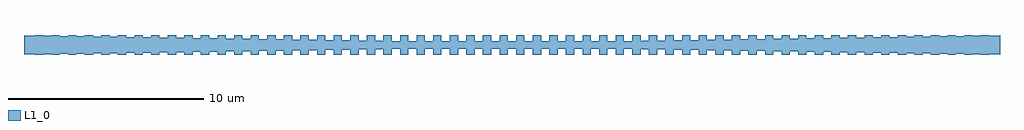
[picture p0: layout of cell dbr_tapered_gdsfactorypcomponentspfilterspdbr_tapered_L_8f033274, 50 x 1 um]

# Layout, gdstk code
import gdstk
lib = gdstk.Library(unit=1e-6, precision=1e-09)
def R(c, l, rs):  # rectangles x0, y0, x1, y1
    for r in rs: c.add(gdstk.rectangle(r[:2], r[2:], *l))
def P(c, l, *ps):  # polygons
    for p in ps: c.add(gdstk.Polygon(p, *l))
L1_0 = (1, 0)

taper_gdsfactorypcompone = lib.new_cell('taper_gdsfactorypcomponentsptapersptaper_L20_W1_W0p4_LN_9fedc536')
P(taper_gdsfactorypcompone, L1_0, [(0,-0.5),(0,0.5),(20,0.2),(20,-0.2)])

straight_gdsfactorypcomp = lib.new_cell('straight_gdsfactorypcomponentspwaveguidespstraight_L10__2c3216f5')
R(straight_gdsfactorypcomp, L1_0, [(0,-0.2,10,0.2)])

c_taper_gdsfactorypcompone = lib.new_cell('taper_gdsfactorypcomponentsptapersptaper_L20_W0p4_W1_LN_66863c4a')
P(c_taper_gdsfactorypcompone, L1_0, [(20,-0.5),(0,-0.2),(0,0.2),(20,0.5)])

rectangle_gdsfactorypcom = lib.new_cell('rectangle_gdsfactorypcomponentspshapesprectangle_S0p424_a02634c4')
R(rectangle_gdsfactorypcom, L1_0, [(0,0,0.424,1)])

array_gdsfactorypcompone = lib.new_cell('array_gdsfactorypcomponentspcontainersparray_component__bf81680f')
r = gdstk.Reference(rectangle_gdsfactorypcom, (0,0)); r.repetition = gdstk.Repetition(58, 1, v1=(0.85,0), v2=(0,0)); array_gdsfactorypcompone.add(r)

dbr_tapered_gdsfactorypc = lib.new_cell('dbr_tapered_gdsfactorypcomponentspfilterspdbr_tapered_L_8f033274')
dbr_tapered_gdsfactorypc.add(gdstk.Reference(taper_gdsfactorypcompone, (-25,0)))
dbr_tapered_gdsfactorypc.add(gdstk.Reference(straight_gdsfactorypcomp, (-5,0)))
dbr_tapered_gdsfactorypc.add(gdstk.Reference(c_taper_gdsfactorypcompone, (5,0)))
dbr_tapered_gdsfactorypc.add(gdstk.Reference(array_gdsfactorypcompone, (-24.437,-0.5)))

lib.write_gds('dbr_tapered_gdsfactorypcomponentspfilterspdbr_tapered_L_8f033274.gds')
